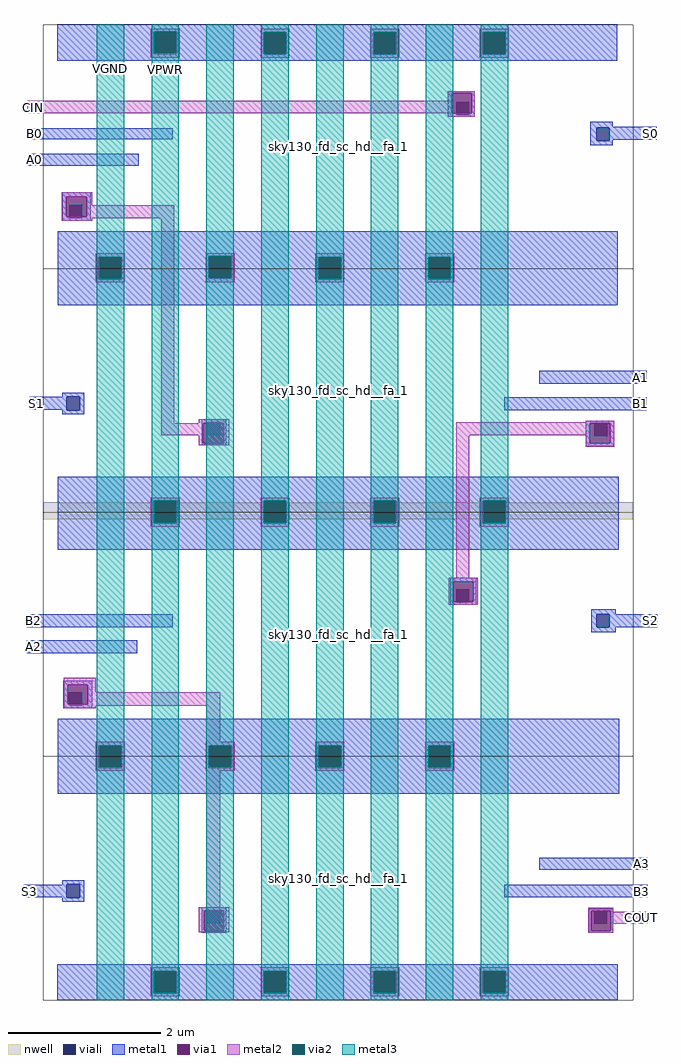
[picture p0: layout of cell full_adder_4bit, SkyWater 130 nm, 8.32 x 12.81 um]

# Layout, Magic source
magic
tech sky130A
<< nwell >>
rect 0 -329 774 -307
<< viali >>
rect 542 202 559 219
rect 726 168 743 185
rect 34 67 51 84
rect 31 -186 48 -168
rect 215 -219 232 -202
rect 723 -220 740 -203
rect 542 -438 559 -421
rect 726 -471 743 -454
rect 34 -573 51 -556
rect 31 -826 48 -808
rect 215 -859 232 -842
rect 723 -860 740 -843
<< metal1 >>
rect 18 311 753 321
rect 18 282 145 311
rect 175 310 753 311
rect 175 282 289 310
rect 18 281 289 282
rect 319 281 433 310
rect 463 281 577 310
rect 607 281 753 310
rect 18 273 753 281
rect 531 230 566 233
rect 531 204 536 230
rect 562 204 566 230
rect 531 202 542 204
rect 559 202 566 204
rect 531 199 566 202
rect 718 186 747 193
rect 718 185 805 186
rect -20 170 170 184
rect 718 168 726 185
rect 743 169 805 185
rect 743 168 747 169
rect 718 162 747 168
rect -20 135 125 151
rect 24 94 62 100
rect 24 68 30 94
rect 57 68 62 94
rect 24 67 34 68
rect 51 67 62 68
rect 24 63 62 67
rect 19 16 754 49
rect 19 15 217 16
rect 19 -14 72 15
rect 103 -13 217 15
rect 247 15 754 16
rect 247 -13 361 15
rect 103 -14 361 -13
rect 391 -14 505 15
rect 535 -14 754 15
rect 19 -47 754 -14
rect 19 -48 753 -47
rect 651 -151 792 -134
rect 25 -168 54 -163
rect -18 -185 31 -168
rect 25 -186 31 -185
rect 48 -186 54 -168
rect 605 -186 792 -169
rect 25 -191 54 -186
rect 208 -202 240 -198
rect 208 -203 215 -202
rect 232 -203 240 -202
rect 208 -229 210 -203
rect 237 -229 240 -203
rect 208 -232 240 -229
rect 712 -203 749 -200
rect 712 -229 717 -203
rect 744 -229 749 -203
rect 712 -233 749 -229
rect 19 -305 755 -273
rect 19 -334 145 -305
rect 175 -334 289 -305
rect 319 -334 433 -305
rect 463 -334 577 -305
rect 607 -334 755 -305
rect 19 -369 755 -334
rect 534 -411 568 -406
rect 534 -437 538 -411
rect 564 -437 568 -411
rect 534 -438 542 -437
rect 559 -438 568 -437
rect 534 -441 568 -438
rect 719 -454 751 -447
rect -22 -471 170 -454
rect 719 -471 726 -454
rect 743 -471 806 -454
rect 719 -477 751 -471
rect -22 -505 123 -488
rect 26 -546 64 -541
rect 26 -572 32 -546
rect 58 -572 64 -546
rect 26 -573 34 -572
rect 51 -573 64 -572
rect 26 -577 64 -573
rect 19 -626 756 -591
rect 19 -655 73 -626
rect 103 -655 217 -626
rect 247 -655 361 -626
rect 391 -655 505 -626
rect 535 -655 756 -626
rect 19 -689 756 -655
rect 651 -789 793 -773
rect 25 -808 54 -803
rect 25 -809 31 -808
rect -26 -825 31 -809
rect 25 -826 31 -825
rect 48 -826 54 -808
rect 605 -825 793 -809
rect 25 -831 54 -826
rect 208 -842 240 -838
rect 208 -843 215 -842
rect 232 -843 240 -842
rect 208 -869 211 -843
rect 237 -869 240 -843
rect 208 -872 240 -869
rect 716 -843 748 -840
rect 716 -869 719 -843
rect 745 -869 748 -843
rect 716 -872 748 -869
rect 18 -922 754 -913
rect 18 -951 145 -922
rect 175 -951 289 -922
rect 319 -951 433 -922
rect 463 -951 577 -922
rect 607 -951 754 -922
rect 18 -960 754 -951
<< via1 >>
rect 145 282 175 311
rect 289 281 319 310
rect 433 281 463 310
rect 577 281 607 310
rect 536 219 562 230
rect 536 204 542 219
rect 542 204 559 219
rect 559 204 562 219
rect 30 84 57 94
rect 30 68 34 84
rect 34 68 51 84
rect 51 68 57 84
rect 73 -14 103 15
rect 217 -13 247 16
rect 361 -14 391 15
rect 505 -14 535 15
rect 210 -219 215 -203
rect 215 -219 232 -203
rect 232 -219 237 -203
rect 210 -229 237 -219
rect 717 -220 723 -203
rect 723 -220 740 -203
rect 740 -220 744 -203
rect 717 -229 744 -220
rect 145 -334 175 -305
rect 289 -334 319 -305
rect 433 -334 463 -305
rect 577 -334 607 -305
rect 538 -421 564 -411
rect 538 -437 542 -421
rect 542 -437 559 -421
rect 559 -437 564 -421
rect 32 -556 58 -546
rect 32 -572 34 -556
rect 34 -572 51 -556
rect 51 -572 58 -556
rect 73 -655 103 -626
rect 217 -655 247 -626
rect 361 -655 391 -626
rect 505 -655 535 -626
rect 211 -859 215 -843
rect 215 -859 232 -843
rect 232 -859 237 -843
rect 211 -869 237 -859
rect 719 -860 723 -843
rect 723 -860 740 -843
rect 740 -860 745 -843
rect 719 -869 745 -860
rect 145 -951 175 -922
rect 289 -951 319 -922
rect 433 -951 463 -922
rect 577 -951 607 -922
<< metal2 >>
rect 141 311 179 315
rect 141 282 145 311
rect 175 282 179 311
rect 141 277 179 282
rect 285 310 323 315
rect 285 281 289 310
rect 319 281 323 310
rect 285 277 323 281
rect 429 310 467 315
rect 429 281 433 310
rect 463 281 467 310
rect 429 277 467 281
rect 573 310 611 315
rect 573 281 577 310
rect 607 281 611 310
rect 573 277 611 281
rect 531 230 566 233
rect 531 220 536 230
rect -21 204 536 220
rect 562 204 566 230
rect 531 199 566 204
rect 25 94 64 100
rect 25 68 30 94
rect 57 83 64 94
rect 57 68 172 83
rect 25 66 172 68
rect 25 63 64 66
rect 69 15 107 20
rect 69 -14 73 15
rect 103 -14 107 15
rect 69 -18 107 -14
rect 155 -203 172 66
rect 213 16 251 20
rect 213 -13 217 16
rect 247 -13 251 16
rect 213 -18 251 -13
rect 357 15 395 20
rect 357 -14 361 15
rect 391 -14 395 15
rect 357 -18 395 -14
rect 501 15 539 20
rect 501 -14 505 15
rect 535 -14 539 15
rect 501 -18 539 -14
rect 204 -203 244 -198
rect 712 -202 749 -200
rect 155 -219 210 -203
rect 204 -229 210 -219
rect 237 -229 244 -203
rect 204 -232 244 -229
rect 542 -203 749 -202
rect 542 -219 717 -203
rect 141 -305 179 -301
rect 141 -334 145 -305
rect 175 -334 179 -305
rect 141 -339 179 -334
rect 285 -305 323 -301
rect 285 -334 289 -305
rect 319 -334 323 -305
rect 285 -339 323 -334
rect 429 -305 467 -301
rect 429 -334 433 -305
rect 463 -334 467 -305
rect 429 -339 467 -334
rect 542 -406 559 -219
rect 712 -229 717 -219
rect 744 -229 749 -203
rect 712 -234 749 -229
rect 573 -305 611 -301
rect 573 -334 577 -305
rect 607 -334 611 -305
rect 573 -339 611 -334
rect 532 -411 570 -406
rect 532 -437 538 -411
rect 564 -437 570 -411
rect 532 -441 570 -437
rect 27 -546 69 -537
rect 27 -572 32 -546
rect 58 -556 69 -546
rect 58 -572 232 -556
rect 27 -574 232 -572
rect 27 -577 69 -574
rect 214 -621 232 -574
rect 69 -626 107 -621
rect 69 -655 73 -626
rect 103 -655 107 -626
rect 69 -659 107 -655
rect 213 -626 251 -621
rect 213 -655 217 -626
rect 247 -655 251 -626
rect 213 -659 251 -655
rect 357 -626 395 -621
rect 357 -655 361 -626
rect 391 -655 395 -626
rect 357 -659 395 -655
rect 501 -626 539 -621
rect 501 -655 505 -626
rect 535 -655 539 -626
rect 501 -659 539 -655
rect 214 -838 232 -659
rect 204 -843 244 -838
rect 204 -869 211 -843
rect 237 -869 244 -843
rect 204 -871 244 -869
rect 715 -843 748 -839
rect 715 -869 719 -843
rect 745 -844 748 -843
rect 745 -860 793 -844
rect 745 -869 748 -860
rect 715 -872 748 -869
rect 141 -922 179 -917
rect 141 -951 145 -922
rect 175 -951 179 -922
rect 141 -955 179 -951
rect 285 -922 323 -917
rect 285 -951 289 -922
rect 319 -951 323 -922
rect 285 -955 323 -951
rect 429 -922 467 -917
rect 429 -951 433 -922
rect 463 -951 467 -922
rect 429 -955 467 -951
rect 573 -922 611 -917
rect 573 -951 577 -922
rect 607 -951 611 -922
rect 573 -955 611 -951
<< via2 >>
rect 146 283 174 311
rect 290 282 318 310
rect 434 282 462 310
rect 578 282 606 310
rect 74 -13 102 15
rect 218 -12 246 16
rect 362 -13 390 15
rect 506 -13 534 15
rect 146 -333 174 -305
rect 290 -333 318 -305
rect 434 -333 462 -305
rect 578 -333 606 -305
rect 74 -654 102 -626
rect 218 -654 246 -626
rect 362 -654 390 -626
rect 506 -654 534 -626
rect 146 -950 174 -922
rect 290 -950 318 -922
rect 434 -950 462 -922
rect 578 -950 606 -922
<< metal3 >>
rect 70 15 106 321
rect 70 -13 74 15
rect 102 -13 106 15
rect 70 -626 106 -13
rect 70 -654 74 -626
rect 102 -654 106 -626
rect 70 -960 106 -654
rect 142 311 178 321
rect 142 283 146 311
rect 174 283 178 311
rect 142 -305 178 283
rect 142 -333 146 -305
rect 174 -333 178 -305
rect 142 -922 178 -333
rect 142 -950 146 -922
rect 174 -950 178 -922
rect 142 -960 178 -950
rect 214 16 250 321
rect 214 -12 218 16
rect 246 -12 250 16
rect 214 -626 250 -12
rect 214 -654 218 -626
rect 246 -654 250 -626
rect 214 -960 250 -654
rect 286 310 322 321
rect 286 282 290 310
rect 318 282 322 310
rect 286 -305 322 282
rect 286 -333 290 -305
rect 318 -333 322 -305
rect 286 -922 322 -333
rect 286 -950 290 -922
rect 318 -950 322 -922
rect 286 -960 322 -950
rect 358 15 394 321
rect 358 -13 362 15
rect 390 -13 394 15
rect 358 -626 394 -13
rect 358 -654 362 -626
rect 390 -654 394 -626
rect 358 -960 394 -654
rect 430 310 466 321
rect 430 282 434 310
rect 462 282 466 310
rect 430 -305 466 282
rect 430 -333 434 -305
rect 462 -333 466 -305
rect 430 -922 466 -333
rect 430 -950 434 -922
rect 462 -950 466 -922
rect 430 -960 466 -950
rect 502 15 538 321
rect 502 -13 506 15
rect 534 -13 538 15
rect 502 -626 538 -13
rect 502 -654 506 -626
rect 534 -654 538 -626
rect 502 -960 538 -654
rect 574 310 610 321
rect 574 282 578 310
rect 606 282 610 310
rect 574 -305 610 282
rect 574 -333 578 -305
rect 606 -333 610 -305
rect 574 -922 610 -333
rect 574 -950 578 -922
rect 606 -950 610 -922
rect 574 -960 610 -950
use sky130_fd_sc_hd__fa_1  x1 $PDKPATH/libs.ref/sky130_fd_sc_hd/mag
transform 1 0 19 0 1 24
box -19 -24 755 296
use sky130_fd_sc_hd__fa_1  x2
transform -1 0 755 0 -1 -24
box -19 -24 755 296
use sky130_fd_sc_hd__fa_1  x3
transform 1 0 19 0 1 -616
box -19 -24 755 296
use sky130_fd_sc_hd__fa_1  x4
transform -1 0 755 0 -1 -664
box -19 -24 755 296
<< labels >>
rlabel metal1 788 169 805 186 1 S0
port 10 n signal output
rlabel metal1 -22 -505 -4 -488 1 A2
port 2 n signal input
rlabel metal1 -22 -471 -4 -454 1 B2
port 6 n signal input
rlabel metal1 789 -471 806 -454 1 S2
port 12 n signal output
rlabel metal1 -20 170 -4 184 1 B0
port 4 n signal input
rlabel metal1 -20 135 -4 151 1 A0
port 0 n signal input
rlabel metal2 -21 204 -5 220 1 CIN
port 13 n signal input
rlabel metal1 -18 -185 -1 -168 1 S1
port 14 n signal output
rlabel metal1 776 -186 792 -169 1 B1
port 15 n signal input
rlabel metal1 775 -151 792 -134 1 A1
port 16 n signal input
rlabel metal1 -26 -825 -10 -809 1 S3
port 17 n signal output
rlabel metal2 777 -860 793 -844 1 COUT
port 18 n signal output
rlabel metal1 777 -789 793 -773 1 A3
port 19 n signal input
rlabel metal1 777 -825 793 -809 1 B3
port 20 n signal input
rlabel metal3 70 246 106 279 1 VGND
port 21 n ground input
rlabel metal3 142 245 178 278 1 VPWR
port 22 n power input
<< end >>
